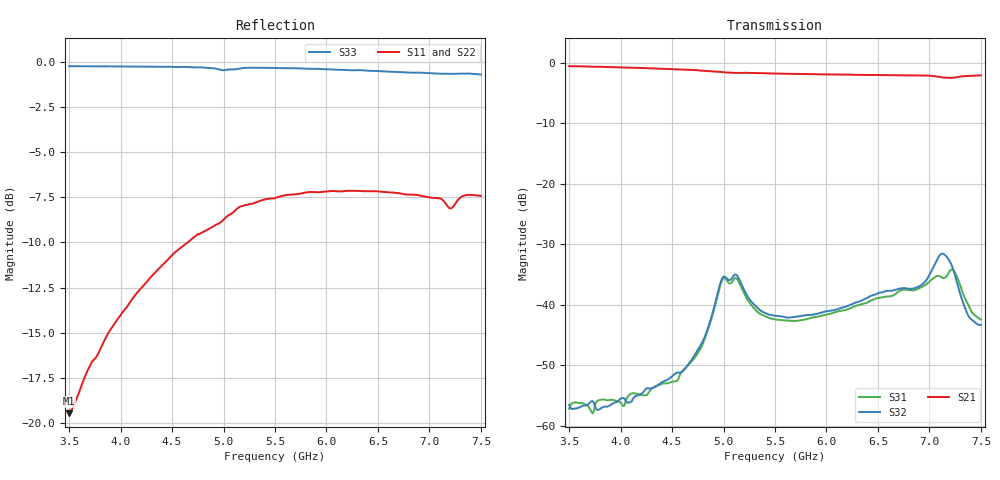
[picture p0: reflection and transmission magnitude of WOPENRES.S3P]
!Agilent Technologies,E5071B,MY42403545,A.09.10
!Date: Thu Jul 11 07:19:43 2019
!Data & Calibration Information:
!Freq	S11:SOLT3(ON)	S12:SOLT3(ON)	S13:SOLT3(ON)
!	S21:SOLT3(ON)	S22:SOLT3(ON)	S23:SOLT3(ON)
!	S31:SOLT3(ON)	S32:SOLT3(ON)	S33:SOLT3(ON)
# Hz S dB R 50
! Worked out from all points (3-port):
!   801 points, 3.5 GHz to 7.5 GHz, reference 50 ohm
!   strongest paths, dB at 3.5 GHz, 4.5 GHz, 5.5 GHz, 6.5 GHz, 7.5 GHz:
!     S21: -0.6, -1.1, -1.8, -2.1, -2.1
!     S32: -56.5, -51.8, -41.8, -38.1, -43.3
!     S31: -57.2, -52.7, -42.4, -38.9, -42.4
!   lowest |S11| = -19.5 dB at 3.5 GHz (marker M1), VSWR 1.24, Z = 40.4 + j0.9 ohm
!   |S11| at or under -10 dB: start of sweep to 4.652 GHz
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3.5e9  -19.47 174.1  -0.59 94.6  -57.15 179.5
       -0.60 94.7  -19.86 -169.3  -56.65 178.1
       -57.16 179.5  -56.52 178.4  -0.24 153.8
3.945e9  -14.46 149.5  -0.79 60.0  -55.77 130.0
         -0.77 60.1  -14.59 147.8  -55.83 137.5
         -55.80 129.7  -56.16 135.7  -0.26 129.9
4.515e9  -10.63 108.7  -1.10 16.1  -52.68 93.3
         -1.10 16.3  -10.73 99.4  -51.63 96.4
         -52.66 93.2  -51.61 95.3  -0.29 100.2
4.79e9  -9.45 89.6  -1.33 -4.8  -46.82 89.4
        -1.35 -4.8  -9.50 77.0  -46.23 87.9
        -46.80 89.2  -46.28 88.4  -0.31 86.3
5e9  -8.75 76.6  -1.59 -20.7  -35.62 36.9
     -1.62 -20.8  -8.83 62.2  -35.42 37.6
     -35.60 36.9  -35.37 37.5  -0.47 76.0
5.5e9  -7.55 39.6  -1.80 -57.0  -42.37 -73.2
       -1.82 -57.1  -7.30 23.1  -41.82 -74.4
       -42.42 -72.8  -41.80 -73.8  -0.34 51.9
6.25e9  -7.15 -15.3  -2.00 -112.7  -40.44 -141.3
        -2.01 -112.6  -7.02 -31.4  -39.80 -143.7
        -40.46 -141.5  -39.87 -143.5  -0.47 14.2
6.905e9  -7.41 -64.6  -2.10 -161.9  -37.28 140.7
         -2.11 -161.9  -7.27 -78.0  -36.92 138.9
         -37.25 140.1  -36.92 138.4  -0.60 -19.1
7.13e9  -7.66 -83.0  -2.45 -179.0  -35.63 100.6
        -2.47 -178.9  -7.69 -89.1  -31.60 88.1
        -35.59 100.4  -31.57 88.1  -0.67 -30.4
7.5e9  -7.43 -109.2  -2.09 155.1  -42.12 44.0
       -2.12 155.1  -7.24 -118.2  -43.24 41.1
       -42.44 45.3  -43.32 41.4  -0.71 -50.8
